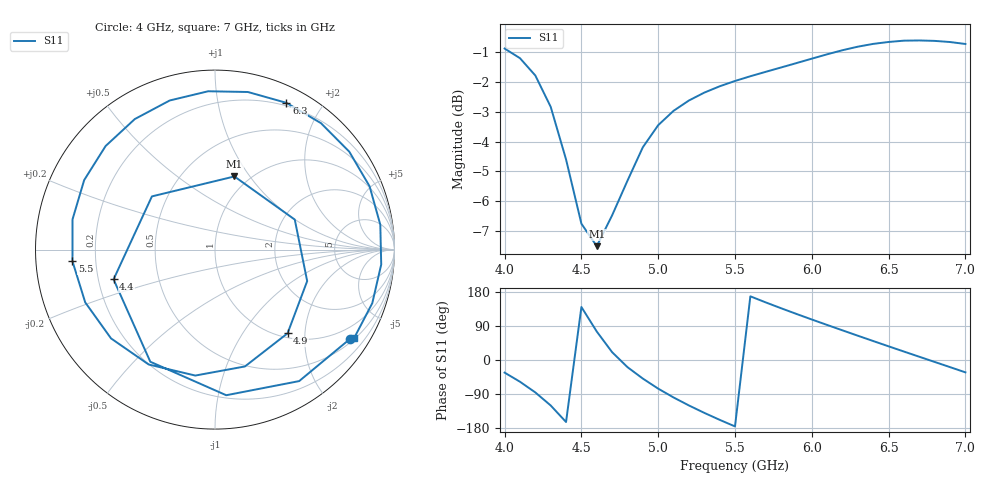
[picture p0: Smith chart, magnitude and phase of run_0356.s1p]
! Touchstone file exported from HFSS 2024.2.0
!  File:  C:/Users/wsak9/Desktop/Sim Fast/Widenad Patch/WP_AI_V1_sweep.aedt
!  Generated:  06:08:16 AM Oct 14, 2026
!  Design:  A1_model
!  Project:  WP_AI_V1_sweep
!  Setup:  Setup1
!  Solution:  Sweep
! Variables:
!  Air_gap = 4.46mm
!  Curve_Amp1 = 1.29
!  Curve_len1 = 1
!  Curve_pos = 12.58mm
!  Extra = 5mm
!  H_sub = 0.79mm
!  L_Patch = 21.16mm
!  L_Patch1 = 13.61mm
!  Sx = 1.21mm
!  Sy = 3.06mm
!  WS = 1.41mm
!  W_Patch = 19.77mm
!  W_Patch1 = 8.61mm
!Data is not renormalized
# GHz S MA
! Terminal data exported
! Port[1] = 1
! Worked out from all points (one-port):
!   31 points, 4 GHz to 7 GHz, reference per port
!   lowest |S11| = -7.5 dB at 4.6 GHz (marker M1), VSWR 2.46
!   |S11| at or under -10 dB: nowhere
!   S11 on the Smith chart (normalised r, x): 4 GHz: 0.60, -3.24; 4.4 GHz: 0.26, -0.13; 4.9 GHz: 1.08, -1.63; 5.5 GHz: 0.11, -0.04; 6.3 GHz: 0.17, +1.59; 7 GHz: 0.53, -3.34
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4  0.9028 -33.3
4.1  0.8699 -57.4
4.2  0.8138 -85.6
4.3  0.7213 -120.0
4.4  0.589 -163.6
4.5  0.4598 139.9
4.6  0.4217 75.1
4.7  0.4749 20.6
4.8  0.5427 -18.9
4.9  0.6173 -49.1
5  0.672 -75.6
5.1  0.7103 -98.9
5.2  0.7391 -120.0
5.3  0.7618 -139.5
5.4  0.7806 -157.9
5.5  0.7968 -175.3
5.6  0.8114 168.0
5.7  0.8254 152.0
5.9  0.8536 121.6
6.1  0.883 92.5
6.2  0.897 78.2
6.3  0.9093 64.1
6.5  0.9259 36.1
6.6  0.9306 22.3
6.7  0.9314 8.6
6.8  0.9298 -5.1
6.9  0.9258 -18.8
7  0.9188 -32.6
